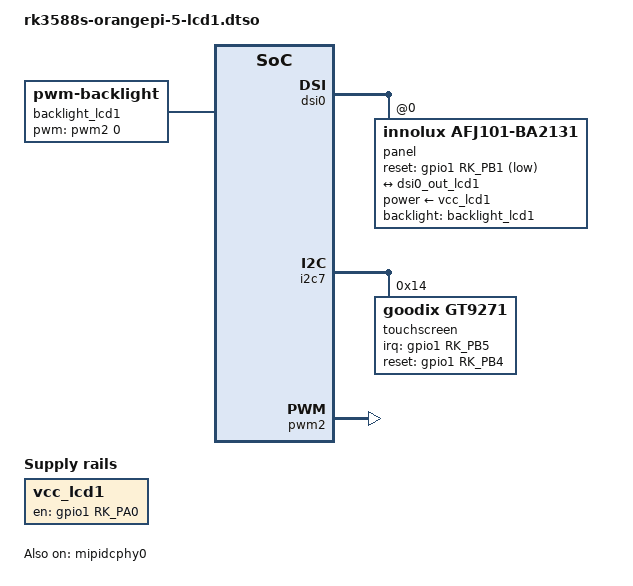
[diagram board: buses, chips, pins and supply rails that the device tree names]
// SPDX-License-Identifier: (GPL-2.0+ OR MIT)
/*
 * Orange Pi 10.1" MIPI LCD (Innolux AFJ101-BA2131, ILI9881C, 800x1280,
 * Goodix GT9271 touch) on the LCD1 connector of the Orange Pi 5.
 *
 * LCD1 is wired to DSI0 and MIPI DCPHY0. The connector signals are taken
 * from the Orange Pi BSP device trees (rk3588s-orangepi-5-lcd.dtsi and
 * rk3588s-orangepi-5.dtsi in orangepi-xunlong/linux-orangepi):
 *   LCD power enable: GPIO1_A0, panel reset: GPIO1_B1 (active low),
 *   backlight PWM: PWM2_M0 (GPIO0_C4),
 *   touch: I2C7_M0, INT GPIO1_B5, RESET GPIO1_B4.
 */

/dts-v1/;
/plugin/;

#include <dt-bindings/gpio/gpio.h>
#include <dt-bindings/interrupt-controller/irq.h>
#include <dt-bindings/pinctrl/rockchip.h>
#include <dt-bindings/soc/rockchip,vop2.h>

&{/} {
	backlight_lcd1: backlight-lcd1 {
		compatible = "pwm-backlight";
		pwms = <&pwm2 0 25000 0>;
	};

	vcc_lcd1: regulator-vcc-lcd1 {
		compatible = "regulator-fixed";
		enable-active-high;
		gpios = <&gpio1 RK_PA0 GPIO_ACTIVE_HIGH>;
		pinctrl-names = "default";
		pinctrl-0 = <&lcd1_pwr_en>;
		regulator-name = "vcc_lcd1";
	};
};

&dsi0 {
	#address-cells = <1>;
	#size-cells = <0>;
	status = "okay";

	panel@0 {
		compatible = "innolux,afj101-ba2131", "ilitek,ili9881c";
		reg = <0>;
		backlight = <&backlight_lcd1>;
		pinctrl-names = "default";
		pinctrl-0 = <&lcd1_rst>;
		power-supply = <&vcc_lcd1>;
		reset-gpios = <&gpio1 RK_PB1 GPIO_ACTIVE_LOW>;

		port {
			lcd1_panel_in: endpoint {
				remote-endpoint = <&dsi0_out_lcd1>;
			};
		};
	};
};

&dsi0_in {
	dsi0_in_vp3: endpoint {
		remote-endpoint = <&vp3_out_dsi0>;
	};
};

&dsi0_out {
	dsi0_out_lcd1: endpoint {
		remote-endpoint = <&lcd1_panel_in>;
	};
};

&i2c7 {
	pinctrl-names = "default";
	pinctrl-0 = <&i2c7m0_xfer>;
	#address-cells = <1>;
	#size-cells = <0>;
	status = "okay";

	touchscreen@14 {
		compatible = "goodix,gt9271";
		reg = <0x14>;
		interrupt-parent = <&gpio1>;
		interrupts = <RK_PB5 IRQ_TYPE_LEVEL_LOW>;
		irq-gpios = <&gpio1 RK_PB5 GPIO_ACTIVE_HIGH>;
		pinctrl-names = "default";
		pinctrl-0 = <&lcd1_touch_int &lcd1_touch_rst>;
		reset-gpios = <&gpio1 RK_PB4 GPIO_ACTIVE_HIGH>;
		touchscreen-inverted-x;
		touchscreen-size-x = <1280>;
		touchscreen-size-y = <800>;
		touchscreen-swapped-x-y;
	};
};

&mipidcphy0 {
	status = "okay";
};

&pinctrl {
	lcd1 {
		lcd1_pwr_en: lcd1-pwr-en {
			rockchip,pins = <1 RK_PA0 RK_FUNC_GPIO &pcfg_pull_none>;
		};

		lcd1_rst: lcd1-rst {
			rockchip,pins = <1 RK_PB1 RK_FUNC_GPIO &pcfg_pull_none>;
		};

		lcd1_touch_int: lcd1-touch-int {
			rockchip,pins = <1 RK_PB5 RK_FUNC_GPIO &pcfg_pull_none>;
		};

		lcd1_touch_rst: lcd1-touch-rst {
			rockchip,pins = <1 RK_PB4 RK_FUNC_GPIO &pcfg_pull_none>;
		};
	};
};

&pwm2 {
	status = "okay";
};

&vp3 {
	#address-cells = <1>;
	#size-cells = <0>;

	vp3_out_dsi0: endpoint@ROCKCHIP_VOP2_EP_MIPI0 {
		reg = <ROCKCHIP_VOP2_EP_MIPI0>;
		remote-endpoint = <&dsi0_in_vp3>;
	};
};
